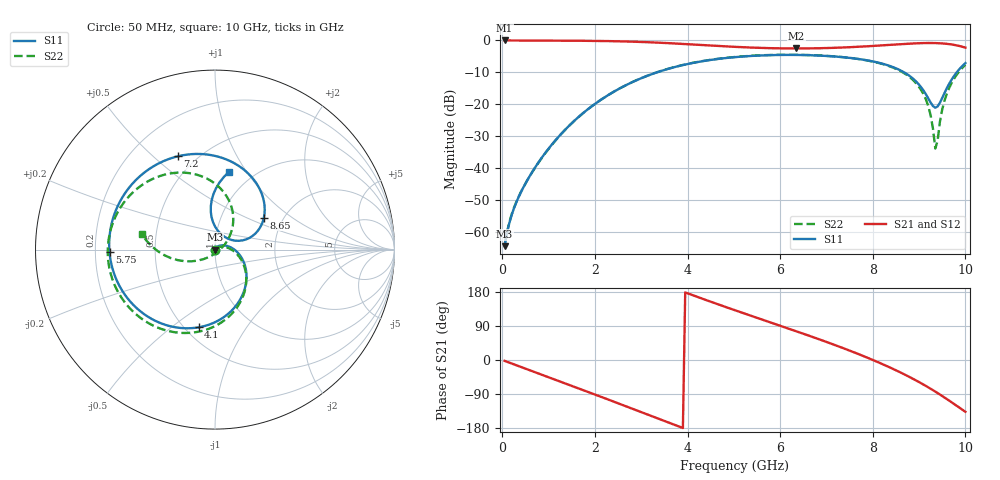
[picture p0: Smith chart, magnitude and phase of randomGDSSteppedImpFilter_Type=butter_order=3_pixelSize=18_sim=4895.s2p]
! freq	dB(S11)	phase(S11)	dB(S12)	phase(S12)
!  dB(S21)	phase(S21)	dB(S22)	phase(S22)
!S-par simulation data
#  GHz  S  DB  R 50
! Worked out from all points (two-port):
!   200 points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, 50 MHz to 10 GHz, reference 50 ohm
!   highest |S21| = -0.01 dB at 50 MHz (marker M1); lowest = -2.5 dB at 6.35 GHz (marker M2)
!   |S21| within 3 dB of the highest: start of sweep to end of sweep
!   lowest |S11| = -64.3 dB at 50 MHz (marker M3), VSWR 1.00, Z = 50 + j0.0411 ohm
!   |S11| at or under -10 dB: start of sweep to 3.335 GHz; 8.679 GHz to 9.812 GHz (1.133 GHz wide, 12.3 % of centre)
!   |S22| runs from -63.9 to -4.5 dB; largest |S21 - S12| = 0
!   S11 on the Smith chart (normalised r, x): 50 MHz: 1.00, +0.00; 4.1 GHz: 0.58, -0.63; 5.75 GHz: 0.26, -0.01; 7.2 GHz: 0.40, +0.60; 8.65 GHz: 1.59, +0.63; 10 GHz: 0.78, +0.84
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0.05  -64.31 42.4  -0.01 -2.3  -0.01 -2.3  -63.95 42.9
0.25  -52.56 74.3  -0.02 -11.3  -0.02 -11.3  -52.41 66.1
0.6  -42.20 70.0  -0.03 -27.1  -0.03 -27.1  -42.24 56.1
1.15  -31.18 45.6  -0.06 -52.0  -0.06 -52.0  -31.25 33.1
1.75  -22.65 15.2  -0.11 -79.4  -0.11 -79.4  -22.67 7.2
2.5  -15.28 -22.7  -0.27 -114.3  -0.27 -114.3  -15.27 -25.6
3.4  -9.69 -67.8  -0.71 -156.5  -0.71 -156.5  -9.66 -65.3
4.1  -7.08 -102.0  -1.26 171.5  -1.26 171.5  -7.04 -95.1
5.05  -5.19 -146.4  -2.03 130.2  -2.03 130.2  -5.14 -132.8
5.75  -4.62 -178.5  -2.40 100.9  -2.40 100.9  -4.56 -158.9
6.35  -4.53 153.5  -2.51 75.8  -2.51 75.8  -4.48 179.1
6.7  -4.65 136.7  -2.48 60.8  -2.48 60.8  -4.60 166.1
7.2  -5.04 111.7  -2.29 38.7  -2.29 38.7  -5.02 147.0
7.85  -6.15 77.2  -1.86 7.8  -1.86 7.8  -6.18 120.0
8.35  -7.88 49.5  -1.41 -18.5  -1.41 -18.5  -8.02 96.3
8.65  -9.76 33.1  -1.13 -35.9  -1.13 -35.9  -10.00 80.0
9.15  -16.90 20.1  -0.81 -68.7  -0.81 -68.7  -18.56 44.1
9.25  -19.42 30.1  -0.80 -75.9  -0.80 -75.9  -23.42 30.6
9.35  -21.03 54.4  -0.82 -83.4  -0.82 -83.4  -33.79 -25.2
9.5  -17.95 89.4  -0.93 -95.0  -0.93 -95.0  -21.55 -140.5
9.6  -14.89 96.0  -1.06 -103.1  -1.06 -103.1  -16.61 -153.7
10  -7.08 79.5  -2.24 -136.7  -2.24 -136.7  -7.60 168.2
